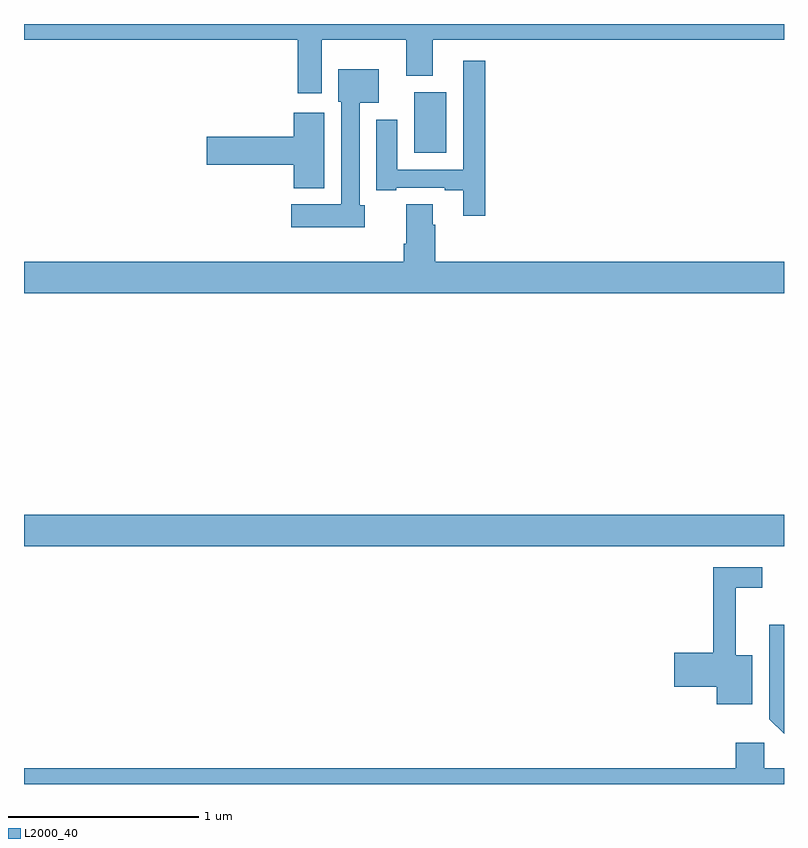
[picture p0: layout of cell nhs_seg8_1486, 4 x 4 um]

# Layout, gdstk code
import gdstk
lib = gdstk.Library(unit=1e-6, precision=1e-09)
def R(c, l, rs):  # rectangles x0, y0, x1, y1
    for r in rs: c.add(gdstk.rectangle(r[:2], r[2:], *l))
def P(c, l, *ps):  # polygons
    for p in ps: c.add(gdstk.Polygon(p, *l))
L2000_40 = (2000, 40)

nhs_seg8_1486 = lib.new_cell('nhs_seg8_1486')
R(nhs_seg8_1486, L2000_40, [(205,1131.152,209,1131.316), (207.053,1133.222,207.223,1133.542)])
P(nhs_seg8_1486, L2000_40, [(206.566,1133.816),(207.011,1133.816),(207.011,1133.627),(207.151,1133.627),(207.151,1133.816),(209,1133.816),(209,1133.9),(205,1133.9),(205,1133.816),(206.441,1133.816),(206.441,1133.535),(206.566,1133.535)],
  [(207.428,1133.707),(207.312,1133.707),(207.312,1133.133),(206.965,1133.133),(206.965,1133.395),(206.855,1133.395),(206.855,1133.025),(206.959,1133.025),(206.959,1133.037),(207.215,1133.037),(207.215,1133.025),(207.311,1133.025),(207.311,1132.89),(207.428,1132.89)],
  [(206.794,1132.947),(206.766,1132.947),(206.766,1133.486),(206.866,1133.486),(206.866,1133.662),(206.654,1133.662),(206.654,1133.49),(206.67,1133.49),(206.67,1132.951),(206.406,1132.951),(206.406,1132.829),(206.794,1132.829)],
  [(206.581,1133.434),(206.42,1133.434),(206.42,1133.306),(205.962,1133.306),(205.962,1133.159),(206.42,1133.159),(206.42,1133.036),(206.581,1133.036)],
  [(209,1132.648),(207.164,1132.648),(207.164,1132.844),(207.151,1132.844),(207.151,1132.952),(207.011,1132.952),(207.011,1132.744),(206.999,1132.744),(206.999,1132.648),(205,1132.648),(205,1132.484),(209,1132.484)],
  [(208.834,1130.578),(208.745,1130.578),(208.745,1130.934),(208.885,1130.934),(208.885,1131.042),(208.627,1131.042),(208.627,1130.591),(208.422,1130.591),(208.422,1130.413),(208.646,1130.413),(208.646,1130.321),(208.834,1130.321)],
  [(209,1130.737),(208.923,1130.737),(208.923,1130.241),(209,1130.164)],
  [(209,1129.984),(208.896,1129.984),(208.896,1130.116),(208.745,1130.116),(208.745,1129.984),(205,1129.984),(205,1129.9),(209,1129.9)])

lib.write_gds('nhs_seg8_1486.gds')
